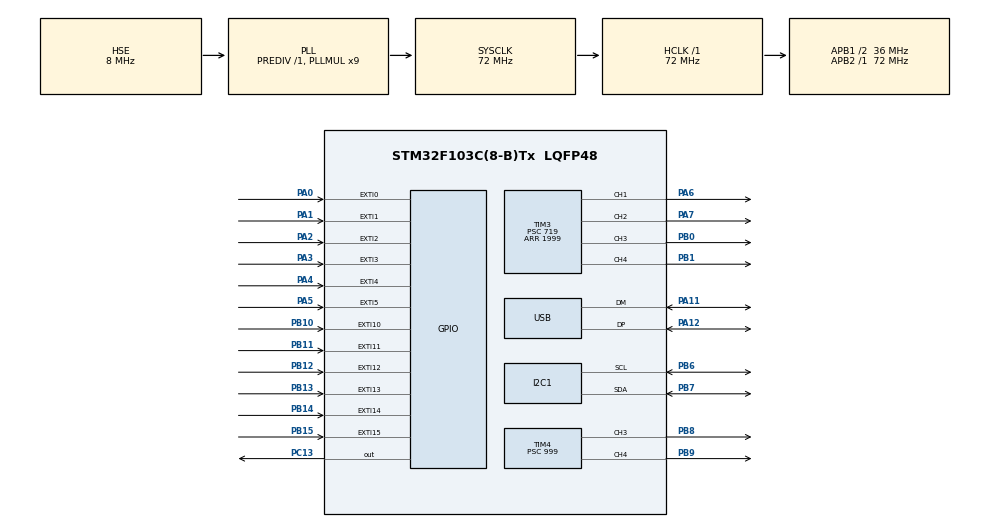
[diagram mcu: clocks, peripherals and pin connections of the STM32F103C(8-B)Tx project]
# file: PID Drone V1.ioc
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Mcu.Family=STM32F1
Mcu.Name=STM32F103C(8-B)Tx
Mcu.Package=LQFP48
NVIC.EXTI0_IRQn=true\:0\:0\:false\:false\:true\:true\:true\:true
NVIC.EXTI15_10_IRQn=true\:0\:0\:false\:false\:true\:true\:true\:true
NVIC.EXTI1_IRQn=true\:0\:0\:false\:false\:true\:true\:true\:true
NVIC.EXTI2_IRQn=true\:0\:0\:false\:false\:true\:true\:true\:true
NVIC.EXTI3_IRQn=true\:0\:0\:false\:false\:true\:true\:true\:true
NVIC.EXTI4_IRQn=true\:0\:0\:false\:false\:true\:true\:true\:true
NVIC.EXTI9_5_IRQn=true\:0\:0\:false\:false\:true\:true\:true\:true
NVIC.PriorityGroup=NVIC_PRIORITYGROUP_4
NVIC.TIM1_CC_IRQn=true\:0\:0\:false\:false\:true\:true\:true\:true
NVIC.TIM2_IRQn=true\:0\:0\:false\:false\:true\:true\:true\:true
NVIC.TIM3_IRQn=true\:0\:0\:false\:false\:true\:true\:true\:true
PA0-WKUP.Signal=GPXTI0
PA1.Signal=GPXTI1
PA11.Mode=Device
PA11.Signal=USB_DM
PA12.Mode=Device
PA12.Signal=USB_DP
PA13.Mode=Serial_Wire
PA13.Signal=SYS_JTMS-SWDIO
PA14.Mode=Serial_Wire
PA14.Signal=SYS_JTCK-SWCLK
PA2.Signal=GPXTI2
PA3.Signal=GPXTI3
PA4.Signal=GPXTI4
PA5.Signal=GPXTI5
PA6.Signal=S_TIM3_CH1
PA7.Signal=S_TIM3_CH2
PB0.Signal=S_TIM3_CH3
PB1.Signal=S_TIM3_CH4
PB10.Signal=GPXTI10
PB11.Signal=GPXTI11
PB12.Signal=GPXTI12
PB13.Signal=GPXTI13
PB14.Signal=GPXTI14
PB15.Signal=GPXTI15
PB6.Mode=I2C
PB6.Signal=I2C1_SCL
PB7.Mode=I2C
PB7.Signal=I2C1_SDA
PB8.Signal=S_TIM4_CH3
PB9.Signal=S_TIM4_CH4
PC13-TAMPER-RTC.Signal=GPIO_Output
PD0-OSC_IN.Mode=HSE-External-Oscillator
PD0-OSC_IN.Signal=RCC_OSC_IN
PD1-OSC_OUT.Mode=HSE-External-Oscillator
PD1-OSC_OUT.Signal=RCC_OSC_OUT
ProjectManager.HeapSize=0x200
ProjectManager.StackSize=0x400
ProjectManager.TargetToolchain=STM32CubeIDE
RCC.AHBFreq_Value=72000000
RCC.APB1CLKDivider=RCC_HCLK_DIV2
RCC.APB1Freq_Value=36000000
RCC.APB1TimFreq_Value=72000000
RCC.APB2Freq_Value=72000000
RCC.APB2TimFreq_Value=72000000
RCC.HCLKFreq_Value=72000000
RCC.PLLMUL=RCC_PLL_MUL9
RCC.SYSCLKFreq_VALUE=72000000
RCC.SYSCLKSource=RCC_SYSCLKSOURCE_PLLCLK
RCC.USBFreq_Value=48000000
RCC.USBPrescaler=RCC_USBCLKSOURCE_PLL_DIV1_5
SH.S_TIM3_CH1.0=TIM3_CH1,PWM Generation1 CH1
SH.S_TIM3_CH2.0=TIM3_CH2,PWM Generation2 CH2
SH.S_TIM3_CH3.0=TIM3_CH3,PWM Generation3 CH3
SH.S_TIM3_CH4.0=TIM3_CH4,PWM Generation4 CH4
SH.S_TIM4_CH3.0=TIM4_CH3,PWM Generation3 CH3
SH.S_TIM4_CH4.0=TIM4_CH4,PWM Generation4 CH4
TIM2.Period=28800
TIM2.Prescaler=9
TIM3.Channel-PWM\ Generation1\ CH1=TIM_CHANNEL_1
TIM3.Channel-PWM\ Generation2\ CH2=TIM_CHANNEL_2
TIM3.Channel-PWM\ Generation3\ CH3=TIM_CHANNEL_3
TIM3.Channel-PWM\ Generation4\ CH4=TIM_CHANNEL_4
TIM3.Period=1999
TIM3.Prescaler=719
TIM4.Channel-PWM\ Generation3\ CH3=TIM_CHANNEL_3
TIM4.Channel-PWM\ Generation4\ CH4=TIM_CHANNEL_4
TIM4.Period=144
TIM4.Prescaler=999
VP_TIM1_VS_ClockSourceINT.Mode=Internal
VP_TIM2_VS_ClockSourceINT.Mode=Internal
VP_TIM3_VS_ClockSourceINT.Mode=Internal
board=custom

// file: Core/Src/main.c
/* USER CODE BEGIN Header */
/**
  ******************************************************************************
  * @file           : main.c
  * @brief          : Main program body
  * @Programmer     : Manh Quan
  ******************************************************************************
  * @attention
  *
  * Copyright (c) 2022 STMicroelectronics.
  * All rights reserved.
  *
  * This software is licensed under terms that can be found in the LICENSE file
  * in the root directory of this software component.
  * If no LICENSE file comes with this software, it is provided AS-IS.
  *
  ******************************************************************************
  */

/**
 * Timer 1 is using for read PPM pulse from Receiver
 *
 * Timer 2 is using for read and calculate IMU Sensor at 250Hz
 *
 * Timer 3 all 4 Channel is using for PWM out put at 50Hz
 * PA6, PA7, PB0, PB1
 *
 * Timer 4 CH3, CH4 is using for PWM out put at 50Hz
 * PB8, PB9
 *
 * EXTI 0,1,2,3,4,5,10,11,12,13,14,15 is using for read PPM pulse
 * PA0 --> PA5   PB10 --> PB15
 *
 * I2C1 is using for communication with IMU sensor
 * PB6 --> SCL, PB7 --> SDA
 *
 * USB for setting with Application
 * PA11 --> DM, PA12 --> DP
 *
 */

#define Motor_1_FL TIM_CHANNEL_1
#define Motor_2_FR TIM_CHANNEL_2
#define Motor_3_RL TIM_CHANNEL_3
#define Motor_4_RR TIM_CHANNEL_4

/* USER CODE END Header */
#include "main.h"

/* USER CODE BEGIN Includes */
#include "MPU6050.h"
#include "stdbool.h"
/* USER CODE END Includes */

 I2C_HandleTypeDef hi2c1;

TIM_HandleTypeDef htim1;
TIM_HandleTypeDef htim2;
TIM_HandleTypeDef htim3;
TIM_HandleTypeDef htim4;

PCD_HandleTypeDef hpcd_USB_FS;

/* USER CODE BEGIN PV */
int count = 0;
float angle_pitch, angle_roll;
int gyro_x, gyro_y, gyro_z;
long acc_x, acc_y, acc_z, acc_total_vector;
int temperature;
long gyro_x_cal, gyro_y_cal, gyro_z_cal;
long loop_timer;
int lcd_loop_counter;
int angle_pitch_buffer, angle_roll_buffer;
bool set_gyro_angles;
float angle_roll_acc, angle_pitch_acc;
float angle_pitch_output, angle_roll_output;
bool IsCalibSensor = false, IsInitDone = false, IsCalibDone = false;

float speedFR, speedRR;
float deltaRoll, deltaPitch, deltaYaw;

int16_t calibCount = 0;
/* USER CODE END PV */

void SystemClock_Config(void);
static void MX_GPIO_Init(void);
static void MX_I2C1_Init(void);
static void MX_TIM1_Init(void);
static void MX_TIM2_Init(void);
static void MX_TIM3_Init(void);
static void MX_USB_PCD_Init(void);
static void MX_TIM4_Init(void);

/* USER CODE BEGIN 0 */
RawData_Def myAccelRaw, myGyroRaw;
/* USER CODE END 0 */

int main(void)
{
  /* USER CODE BEGIN 1 */
  MPU_ConfigTypeDef myMpuConfig;
  /* USER CODE END 1 */

  /* MCU Configuration--------------------------------------------------------*/

  /* Reset of all peripherals, Initializes the Flash interface and the Systick. */
  HAL_Init();

  /* Configure the system clock */
  SystemClock_Config();

  /* Initialize all configured peripherals */
  MX_GPIO_Init();
  MX_I2C1_Init();
  MX_TIM1_Init();
  MX_TIM2_Init();
  MX_TIM3_Init();
  MX_USB_PCD_Init();
  MX_TIM4_Init();
  /* USER CODE BEGIN 2 */

  HAL_TIM_PWM_Start(&htim3,TIM_CHANNEL_1);
  HAL_TIM_PWM_Start(&htim3,TIM_CHANNEL_2);
  HAL_TIM_PWM_Start(&htim3,TIM_CHANNEL_3);
  HAL_TIM_PWM_Start(&htim3,TIM_CHANNEL_4);

  __HAL_TIM_SetCompare(&htim3,TIM_CHANNEL_1,100);
  __HAL_TIM_SetCompare(&htim3,TIM_CHANNEL_2,100);
  __HAL_TIM_SetCompare(&htim3,TIM_CHANNEL_3,100);
  __HAL_TIM_SetCompare(&htim3,TIM_CHANNEL_4,100);

  // 30-Nov MQC : Disable MPU6050. You need to enable it later
  MPU6050_Init(&hi2c1);
  myMpuConfig.Accel_Full_Scale = AFS_SEL_8g;
  myMpuConfig.ClockSource = Internal_8MHz;
  myMpuConfig.CONFIG_DLPF = DLPF_184A_188G_Hz;
  myMpuConfig.Gyro_Full_Scale = FS_SEL_500;
  myMpuConfig.Sleep_Mode_Bit = 0;  //1: sleep mode, 0: normal mode
  MPU6050_Config(&myMpuConfig);
  IsInitDone = true;

  HAL_TIM_Base_Start_IT(&htim2);

  // Initial Done
  for(int i = 0; i<10; i++)
  {
	  HAL_GPIO_TogglePin(GPIOC, GPIO_PIN_13);
	  HAL_Delay(300);
  }
  HAL_GPIO_WritePin(GPIOC, GPIO_PIN_13, GPIO_PIN_SET);
  HAL_Delay(3000);

  IsCalibSensor = true;
  while(IsCalibSensor)
  {
	  HAL_GPIO_WritePin(GPIOC, GPIO_PIN_13, GPIO_PIN_RESET);
  }

  // Calibration Done
  for(int i = 0; i<10; i++)
  {
	  HAL_GPIO_TogglePin(GPIOC, GPIO_PIN_13);
	  HAL_Delay(100);
  }

  // 1ms = 100; 2ms = 200
  speedRR = 100;
  /* USER CODE END 2 */

  /* Infinite loop */
  /* USER CODE BEGIN WHILE */
  while (1)
  {
	  deltaRoll = angle_roll_output;
//	  speedRR = 150 + (deltaRoll * 0.5);
//	  speedFR = 150 - (deltaRoll * 0.5);
//
//
//	  if(speedRR < 120) speedRR = 120;
//	  if(speedFR < 120) speedFR = 120;
//
//	  if(speedRR > 200) speedRR = 200;
//	  if(speedFR > 200) speedFR = 200;

	  speedRR ++;
	  HAL_Delay(200);
	  if(speedRR > 140) speedRR = 140;

	  __HAL_TIM_SetCompare(&htim3,Motor_1_FL,speedRR);
	  __HAL_TIM_SetCompare(&htim3,Motor_2_FR,speedRR);
	  __HAL_TIM_SetCompare(&htim3,Motor_3_RL,speedRR);
	  __HAL_TIM_SetCompare(&htim3,Motor_4_RR,speedRR);

//	  for(int duty = 100; duty < 250; duty++)
//	  {
//		  __HAL_TIM_SetCompare(&htim3,TIM_CHANNEL_1,duty);
//		  __HAL_TIM_SetCompare(&htim3,TIM_CHANNEL_2,duty);
//		  HAL_Delay(100);
//	  }
//	  for(int duty = 250; duty > 100; duty--)
//	  {
//		  __HAL_TIM_SetCompare(&htim3,TIM_CHANNEL_1,duty);
//		  __HAL_TIM_SetCompare(&htim3,TIM_CHANNEL_2,duty);
//		  HAL_Delay(100);
//	  }

    /* USER CODE END WHILE */

  }
}

void SystemClock_Config(void)
{
  RCC_OscInitTypeDef RCC_OscInitStruct = {0};
  RCC_ClkInitTypeDef RCC_ClkInitStruct = {0};
  RCC_PeriphCLKInitTypeDef PeriphClkInit = {0};

  /** Initializes the RCC Oscillators according to the specified parameters
  * in the RCC_OscInitTypeDef structure.
  */
  RCC_OscInitStruct.OscillatorType = RCC_OSCILLATORTYPE_HSE;
  RCC_OscInitStruct.HSEState = RCC_HSE_ON;
  RCC_OscInitStruct.HSEPredivValue = RCC_HSE_PREDIV_DIV1;
  RCC_OscInitStruct.HSIState = RCC_HSI_ON;
  RCC_OscInitStruct.PLL.PLLState = RCC_PLL_ON;
  RCC_OscInitStruct.PLL.PLLSource = RCC_PLLSOURCE_HSE;
  RCC_OscInitStruct.PLL.PLLMUL = RCC_PLL_MUL9;
  if (HAL_RCC_OscConfig(&RCC_OscInitStruct) != HAL_OK)
  {
    Error_Handler();
  }

  /** Initializes the CPU, AHB and APB buses clocks
  */
  RCC_ClkInitStruct.ClockType = RCC_CLOCKTYPE_HCLK|RCC_CLOCKTYPE_SYSCLK
                              |RCC_CLOCKTYPE_PCLK1|RCC_CLOCKTYPE_PCLK2;
  RCC_ClkInitStruct.SYSCLKSource = RCC_SYSCLKSOURCE_PLLCLK;
  RCC_ClkInitStruct.AHBCLKDivider = RCC_SYSCLK_DIV1;
  RCC_ClkInitStruct.APB1CLKDivider = RCC_HCLK_DIV2;
  RCC_ClkInitStruct.APB2CLKDivider = RCC_HCLK_DIV1;

  if (HAL_RCC_ClockConfig(&RCC_ClkInitStruct, FLASH_LATENCY_2) != HAL_OK)
  {
    Error_Handler();
  }
  PeriphClkInit.PeriphClockSelection = RCC_PERIPHCLK_USB;
  PeriphClkInit.UsbClockSelection = RCC_USBCLKSOURCE_PLL_DIV1_5;
  if (HAL_RCCEx_PeriphCLKConfig(&PeriphClkInit) != HAL_OK)
  {
    Error_Handler();
  }
}

static void MX_I2C1_Init(void)
{

  hi2c1.Instance = I2C1;
  hi2c1.Init.ClockSpeed = 100000;
  hi2c1.Init.DutyCycle = I2C_DUTYCYCLE_2;
  hi2c1.Init.OwnAddress1 = 0;
  hi2c1.Init.AddressingMode = I2C_ADDRESSINGMODE_7BIT;
  hi2c1.Init.DualAddressMode = I2C_DUALADDRESS_DISABLE;
  hi2c1.Init.OwnAddress2 = 0;
  hi2c1.Init.GeneralCallMode = I2C_GENERALCALL_DISABLE;
  hi2c1.Init.NoStretchMode = I2C_NOSTRETCH_DISABLE;
  if (HAL_I2C_Init(&hi2c1) != HAL_OK)
  {
    Error_Handler();
  }

}

static void MX_TIM1_Init(void)
{

  TIM_ClockConfigTypeDef sClockSourceConfig = {0};
  TIM_MasterConfigTypeDef sMasterConfig = {0};

  htim1.Instance = TIM1;
  htim1.Init.Prescaler = 0;
  htim1.Init.CounterMode = TIM_COUNTERMODE_UP;
  htim1.Init.Period = 65535;
  htim1.Init.ClockDivision = TIM_CLOCKDIVISION_DIV1;
  htim1.Init.RepetitionCounter = 0;
  htim1.Init.AutoReloadPreload = TIM_AUTORELOAD_PRELOAD_DISABLE;
   if (HAL_TIM_Base_Init(&htim1) != HAL_OK)
  {
    Error_Handler();
  }
  sClockSourceConfig.ClockSource = TIM_CLOCKSOURCE_INTERNAL;
  if (HAL_TIM_ConfigClockSource(&htim1, &sClockSourceConfig) != HAL_OK)
  {
    Error_Handler();
  }
  sMasterConfig.MasterOutputTrigger = TIM_TRGO_RESET;
  sMasterConfig.MasterSlaveMode = TIM_MASTERSLAVEMODE_DISABLE;
  if (HAL_TIMEx_MasterConfigSynchronization(&htim1, &sMasterConfig) != HAL_OK)
  {
    Error_Handler();
  }

}

static void MX_TIM2_Init(void)
{

  TIM_ClockConfigTypeDef sClockSourceConfig = {0};
  TIM_MasterConfigTypeDef sMasterConfig = {0};

  htim2.Instance = TIM2;
  htim2.Init.Prescaler = 9;
  htim2.Init.CounterMode = TIM_COUNTERMODE_UP;
  htim2.Init.Period = 28800;
  htim2.Init.ClockDivision = TIM_CLOCKDIVISION_DIV1;
  htim2.Init.AutoReloadPreload = TIM_AUTORELOAD_PRELOAD_DISABLE;
  if (HAL_TIM_Base_Init(&htim2) != HAL_OK)
  {
    Error_Handler();
  }
  sClockSourceConfig.ClockSource = TIM_CLOCKSOURCE_INTERNAL;
  if (HAL_TIM_ConfigClockSource(&htim2, &sClockSourceConfig) != HAL_OK)
  {
    Error_Handler();
  }
  sMasterConfig.MasterOutputTrigger = TIM_TRGO_RESET;
  sMasterConfig.MasterSlaveMode = TIM_MASTERSLAVEMODE_DISABLE;
  if (HAL_TIMEx_MasterConfigSynchronization(&htim2, &sMasterConfig) != HAL_OK)
  {
    Error_Handler();
  }

}

static void MX_TIM3_Init(void)
{

  TIM_ClockConfigTypeDef sClockSourceConfig = {0};
  TIM_MasterConfigTypeDef sMasterConfig = {0};
  TIM_OC_InitTypeDef sConfigOC = {0};

  htim3.Instance = TIM3;
  htim3.Init.Prescaler = 719;
  htim3.Init.CounterMode = TIM_COUNTERMODE_UP;
  htim3.Init.Period = 1999;
  htim3.Init.ClockDivision = TIM_CLOCKDIVISION_DIV1;
  htim3.Init.AutoReloadPreload = TIM_AUTORELOAD_PRELOAD_DISABLE;
  if (HAL_TIM_Base_Init(&htim3) != HAL_OK)
  {
    Error_Handler();
  }
  sClockSourceConfig.ClockSource = TIM_CLOCKSOURCE_INTERNAL;
  if (HAL_TIM_ConfigClockSource(&htim3, &sClockSourceConfig) != HAL_OK)
  {
    Error_Handler();
  }
  if (HAL_TIM_PWM_Init(&htim3) != HAL_OK)
  {
    Error_Handler();
  }
  sMasterConfig.MasterOutputTrigger = TIM_TRGO_RESET;
  sMasterConfig.MasterSlaveMode = TIM_MASTERSLAVEMODE_DISABLE;
  if (HAL_TIMEx_MasterConfigSynchronization(&htim3, &sMasterConfig) != HAL_OK)
  {
    Error_Handler();
  }
  sConfigOC.OCMode = TIM_OCMODE_PWM1;
  sConfigOC.Pulse = 0;
  sConfigOC.OCPolarity = TIM_OCPOLARITY_HIGH;
  sConfigOC.OCFastMode = TIM_OCFAST_DISABLE;
  if (HAL_TIM_PWM_ConfigChannel(&htim3, &sConfigOC, TIM_CHANNEL_1) != HAL_OK)
  {
    Error_Handler();
  }
  if (HAL_TIM_PWM_ConfigChannel(&htim3, &sConfigOC, TIM_CHANNEL_2) != HAL_OK)
  {
    Error_Handler();
  }
  if (HAL_TIM_PWM_ConfigChannel(&htim3, &sConfigOC, TIM_CHANNEL_3) != HAL_OK)
  {
    Error_Handler();
  }
  if (HAL_TIM_PWM_ConfigChannel(&htim3, &sConfigOC, TIM_CHANNEL_4) != HAL_OK)
  {
    Error_Handler();
  }
  HAL_TIM_MspPostInit(&htim3);

}

static void MX_TIM4_Init(void)
{

  TIM_MasterConfigTypeDef sMasterConfig = {0};
  TIM_OC_InitTypeDef sConfigOC = {0};

  htim4.Instance = TIM4;
  htim4.Init.Prescaler = 999;
  htim4.Init.CounterMode = TIM_COUNTERMODE_UP;
  htim4.Init.Period = 144;
  htim4.Init.ClockDivision = TIM_CLOCKDIVISION_DIV1;
  htim4.Init.AutoReloadPreload = TIM_AUTORELOAD_PRELOAD_DISABLE;
  if (HAL_TIM_PWM_Init(&htim4) != HAL_OK)
  {
    Error_Handler();
  }
  sMasterConfig.MasterOutputTrigger = TIM_TRGO_RESET;
  sMasterConfig.MasterSlaveMode = TIM_MASTERSLAVEMODE_DISABLE;
  if (HAL_TIMEx_MasterConfigSynchronization(&htim4, &sMasterConfig) != HAL_OK)
  {
    Error_Handler();
  }
  sConfigOC.OCMode = TIM_OCMODE_PWM1;
  sConfigOC.Pulse = 0;
  sConfigOC.OCPolarity = TIM_OCPOLARITY_HIGH;
  sConfigOC.OCFastMode = TIM_OCFAST_DISABLE;
  if (HAL_TIM_PWM_ConfigChannel(&htim4, &sConfigOC, TIM_CHANNEL_3) != HAL_OK)
  {
    Error_Handler();
  }
  if (HAL_TIM_PWM_ConfigChannel(&htim4, &sConfigOC, TIM_CHANNEL_4) != HAL_OK)
  {
    Error_Handler();
  }
  HAL_TIM_MspPostInit(&htim4);

}

static void MX_USB_PCD_Init(void)
{

  hpcd_USB_FS.Instance = USB;
  hpcd_USB_FS.Init.dev_endpoints = 8;
  hpcd_USB_FS.Init.speed = PCD_SPEED_FULL;
  hpcd_USB_FS.Init.low_power_enable = DISABLE;
  hpcd_USB_FS.Init.lpm_enable = DISABLE;
  hpcd_USB_FS.Init.battery_charging_enable = DISABLE;
  if (HAL_PCD_Init(&hpcd_USB_FS) != HAL_OK)
  {
    Error_Handler();
  }

}

static void MX_GPIO_Init(void)
{
  GPIO_InitTypeDef GPIO_InitStruct = {0};

  /* GPIO Ports Clock Enable */
  __HAL_RCC_GPIOC_CLK_ENABLE();
  __HAL_RCC_GPIOD_CLK_ENABLE();
  __HAL_RCC_GPIOA_CLK_ENABLE();
  __HAL_RCC_GPIOB_CLK_ENABLE();

  /*Configure GPIO pin Output Level */
  HAL_GPIO_WritePin(GPIOC, GPIO_PIN_13, GPIO_PIN_RESET);

  /*Configure GPIO pin : PC13 */
  GPIO_InitStruct.Pin = GPIO_PIN_13;
  GPIO_InitStruct.Mode = GPIO_MODE_OUTPUT_PP;
  GPIO_InitStruct.Pull = GPIO_NOPULL;
  GPIO_InitStruct.Speed = GPIO_SPEED_FREQ_LOW;
  HAL_GPIO_Init(GPIOC, &GPIO_InitStruct);

  /*Configure GPIO pins : PA0 PA1 PA2 PA3
                           PA4 PA5 */
  GPIO_InitStruct.Pin = GPIO_PIN_0|GPIO_PIN_1|GPIO_PIN_2|GPIO_PIN_3
                          |GPIO_PIN_4|GPIO_PIN_5;
  GPIO_InitStruct.Mode = GPIO_MODE_IT_RISING;
  GPIO_InitStruct.Pull = GPIO_NOPULL;
  HAL_GPIO_Init(GPIOA, &GPIO_InitStruct);

  /*Configure GPIO pins : PB10 PB11 PB12 PB13
                           PB14 PB15 */
  GPIO_InitStruct.Pin = GPIO_PIN_10|GPIO_PIN_11|GPIO_PIN_12|GPIO_PIN_13
                          |GPIO_PIN_14|GPIO_PIN_15;
  GPIO_InitStruct.Mode = GPIO_MODE_IT_RISING;
  GPIO_InitStruct.Pull = GPIO_NOPULL;
  HAL_GPIO_Init(GPIOB, &GPIO_InitStruct);

  /* EXTI interrupt init*/
  HAL_NVIC_SetPriority(EXTI0_IRQn, 0, 0);
  HAL_NVIC_EnableIRQ(EXTI0_IRQn);

  HAL_NVIC_SetPriority(EXTI1_IRQn, 0, 0);
  HAL_NVIC_EnableIRQ(EXTI1_IRQn);

  HAL_NVIC_SetPriority(EXTI2_IRQn, 0, 0);
  HAL_NVIC_EnableIRQ(EXTI2_IRQn);

  HAL_NVIC_SetPriority(EXTI3_IRQn, 0, 0);
  HAL_NVIC_EnableIRQ(EXTI3_IRQn);

  HAL_NVIC_SetPriority(EXTI4_IRQn, 0, 0);
  HAL_NVIC_EnableIRQ(EXTI4_IRQn);

  HAL_NVIC_SetPriority(EXTI9_5_IRQn, 0, 0);
  HAL_NVIC_EnableIRQ(EXTI9_5_IRQn);

  HAL_NVIC_SetPriority(EXTI15_10_IRQn, 0, 0);
  HAL_NVIC_EnableIRQ(EXTI15_10_IRQn);

}

/* USER CODE BEGIN 4 */

 void HAL_TIM_PeriodElapsedCallback(TIM_HandleTypeDef *htim)
 {

	 // Timer 2 using for read IMU sensor at 250Hz (every 4ms)
	 if(htim->Instance==TIM2)
	 {
		 // Start to calibration the sensor, DO NOT make vibration !!
		 //MPU6050_Get_Accel_RawData(&myAccelRaw);
		 //MPU6050_Get_Gyro_RawData(&myGyroRaw);
		 if(IsCalibSensor && IsInitDone)
		 {
		 	MPU6050_Get_Gyro_RawData(&myGyroRaw);
		 	gyro_x_cal += myGyroRaw.x;
			gyro_y_cal += myGyroRaw.y;
			gyro_z_cal += myGyroRaw.z;
			calibCount ++;
			if(calibCount >= 2000)
			{
				gyro_x_cal /= 2000;
				gyro_y_cal /= 2000;
				gyro_z_cal /= 2000;
				IsCalibSensor = false;
				IsCalibDone = true;
				//IsReadSensor = true;
			}

//			if(!calibCount %20)
//			{
//				HAL_GPIO_TogglePin(GPIOC, GPIO_PIN_13);
//			}
		}

		if(IsCalibDone)
		{
			MPU6050_Get_Accel_RawData(&myAccelRaw);
			MPU6050_Get_Gyro_RawData(&myGyroRaw);

			// myAccelRaw
	 		gyro_x = myGyroRaw.x;
			gyro_y = myGyroRaw.y;
			gyro_z = myGyroRaw.z;

			gyro_x -= gyro_x_cal;
			gyro_y -= gyro_y_cal;
			gyro_z -= gyro_z_cal;

			// 0.0000610687 = 1/250*65.5 (250Hz, 65.5 Degree/s)
			// 3-Dec MQC: Need to uncomnet 2 line below
			angle_pitch += gyro_x * 0.0000610687;
			angle_roll += gyro_y * 0.0000610687;
			//angle_pitch += myGyroRaw.x * 0.0000610687;
			//angle_roll += myGyroRaw.y * 0.0000610687;

			// 0.000001065849 = 0.0000610687 * (Pi/180)
			angle_pitch += angle_roll * sin(gyro_z * 0.000001065849);
			angle_roll -= angle_pitch * sin(gyro_z * 0.000001065849);

			acc_total_vector = sqrt((myAccelRaw.x*myAccelRaw.x)+(myAccelRaw.y*myAccelRaw.y)+(myAccelRaw.z*myAccelRaw.z));

			angle_pitch_acc = asin((float)myAccelRaw.y/acc_total_vector) * 57.29577;
			angle_roll_acc = asin((float)myAccelRaw.x/acc_total_vector) * -57.29577;

			angle_pitch_acc -= 0.0;
			angle_roll_acc -= 0.0;

			if(set_gyro_angles)
			{                                                 //If the IMU is already started
				angle_pitch = angle_pitch * 0.9996 + angle_pitch_acc * 0.0004;     //Correct the drift of the gyro pitch angle with the accelerometer pitch angle
			    angle_roll = angle_roll * 0.9996 + angle_roll_acc * 0.0004;        //Correct the drift of the gyro roll angle with the accelerometer roll angle
			}
			else
			{                                                                //At first start
				angle_pitch = angle_pitch_acc;                                     //Set the gyro pitch angle equal to the accelerometer pitch angle
			    angle_roll = angle_roll_acc;                                       //Set the gyro roll angle equal to the accelerometer roll angle
			    set_gyro_angles = true;                                            //Set the IMU started flag
			}

			  //To dampen the pitch and roll angles a complementary filter is used
			  angle_pitch_output = angle_pitch_output * 0.9 + angle_pitch * 0.1;   //Take 90% of the output pitch value and add 10% of the raw pitch value
			  angle_roll_output = angle_roll_output * 0.9 + angle_roll * 0.1;
			  HAL_GPIO_TogglePin(GPIOC, GPIO_PIN_13);
		}

	 }
 }

/* USER CODE END 4 */

void Error_Handler(void)
{
  __disable_irq();
  while (1)
  {
  }
}
